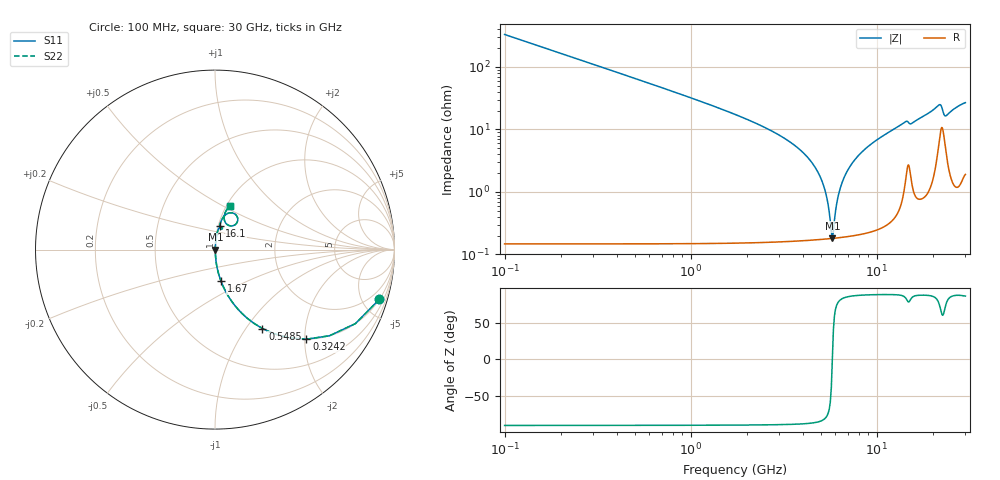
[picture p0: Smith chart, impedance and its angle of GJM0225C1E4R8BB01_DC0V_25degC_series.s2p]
!Murata Part Number: GJM0225C1E4R8BB01
!These Parameters are Measured in Series Mode Connection
!  o--ll--o
!Port1  Port2
!  o------o
!Operation Temp=25[degC], DC Bias Voltage=0[V]
!Freq. Start=100[MHz] Stop=30[GHz], 401[Steps]
!Data Generated on Feb 1, 2023
# Hz S RI R 50
!Freq.(Hz) S11(Real) S11(Imag) S21(Real) S21(Imag) S12(Real) S12(Imag) S22(Real) S22(Imag)
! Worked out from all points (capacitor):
!   401 points, 100 MHz to 30 GHz, reference 50 ohm
!   read as one part in series: C = 4.8 pF near 249.5 MHz
!   lowest |Z| = 180 mohm at 5.781 GHz (marker M1)
!   series resonance near 5.778 GHz, so ESL is about 160 pH
!   S11 on the Smith chart (normalised r, x): 100 MHz: 1.00, -6.63; 324.2 MHz: 1.00, -2.04; 548.5 MHz: 1.00, -1.20; 1.67 GHz: 1.00, -0.36; 16.1 GHz: 1.02, +0.27; 30 GHz: 1.04, +0.54
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1e8  0.9165 -0.2764  0.0835 0.2764  0.0835 0.2764  0.9165 -0.2764
3.2425e8  0.5096 -0.4992  0.4904 0.4992  0.4904 0.4992  0.5096 -0.4992
5.485e8  0.2646 -0.4399  0.7354 0.4399  0.7354 0.4399  0.2646 -0.4399
9.2225e8  0.1104 -0.3113  0.8896 0.3113  0.8896 0.3113  0.1104 -0.3113
1.66975e9  0.0334 -0.1757  0.9666 0.1757  0.9666 0.1757  0.0334 -0.1757
4.1365e9  0.00318 -0.039  0.9968 0.039  0.9968 0.039  0.00318 -0.039
5.10825e9  0.00194 -0.0142  0.9981 0.0142  0.9981 0.0142  0.00194 -0.0142
5.3325e9  0.00184 -0.00923  0.9982 0.00923  0.9982 0.00923  0.00184 -0.00923
5.6315e9  0.00179 -0.00296  0.9982 0.00296  0.9982 0.00296  0.00179 -0.00296
5.781e9  0.0018 5.19e-05  0.9982 -5.19e-05  0.9982 -5.19e-05  0.0018 5.19e-05
6.30425e9  0.00195 0.01  0.9981 -0.01  0.9981 -0.01  0.00195 0.01
6.977e9  0.0024 0.0218  0.9976 -0.0218  0.9976 -0.0218  0.0024 0.0218
8.173e9  0.00375 0.0409  0.9962 -0.0409  0.9962 -0.0409  0.00375 0.0409
1.01165e10  0.00721 0.0686  0.9928 -0.0686  0.9928 -0.0686  0.00721 0.0686
1.4153e10  0.028 0.1249  0.972 -0.1249  0.972 -0.1249  0.028 0.1249
1.505e10  0.0361 0.1145  0.9639 -0.1145  0.9639 -0.1145  0.0361 0.1145
1.60965e10  0.0262 0.1309  0.9738 -0.1309  0.9738 -0.1309  0.0262 0.1309
2.005825e10  0.0533 0.1891  0.9467 -0.1891  0.9467 -0.1891  0.0533 0.1891
2.185225e10  0.1143 0.1955  0.8857 -0.1955  0.8857 -0.1955  0.1143 0.1955
2.334725e10  0.0723 0.1366  0.9277 -0.1366  0.9277 -0.1366  0.0723 0.1366
2.50665e10  0.051 0.181  0.949 -0.181  0.949 -0.181  0.051 0.181
3e10  0.0822 0.2413  0.9178 -0.2413  0.9178 -0.2413  0.0822 0.2413
